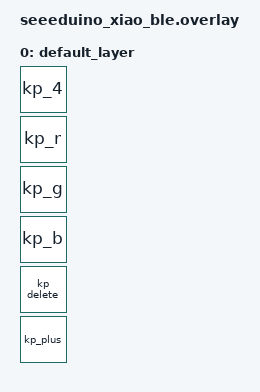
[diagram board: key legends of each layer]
/* Enable I2C and MCP23017 expanders */
&xiao_i2c {
    status = "okay";
    clock-frequency = <I2C_BITRATE_FAST>;

    ext1: mcp23017@20 {
        compatible = "microchip,mcp230xx";
        status = "okay";
        gpio-controller;
        reg = <0x20>;
        #gpio-cells = <2>;
        ngpios = <16>;
        int-gpios = <&xiao_d 2 GPIO_ACTIVE_LOW>;
    };

    ext2: mcp23017@21 {
        compatible = "microchip,mcp230xx";
        status = "okay";
        gpio-controller;
        reg = <0x21>;
        #gpio-cells = <2>;
        ngpios = <16>;
        int-gpios = <&xiao_d 3 GPIO_ACTIVE_LOW>;
    };
};

/* Keymap overlay with broken keys only */
 / {
    keymap {
        compatible = "zmk,keymap";

        default_layer {
            bindings = <
                &kp_4
                &kp_r
                &kp_g
                &kp_b
                &kp_delete
                &kp_plus
            >;
        };
    };
};

/* Debounce for kscan0 to prevent stuck keys */
&kscan0 {
    debounce-press = <20>;
    debounce-release = <20>;
};
